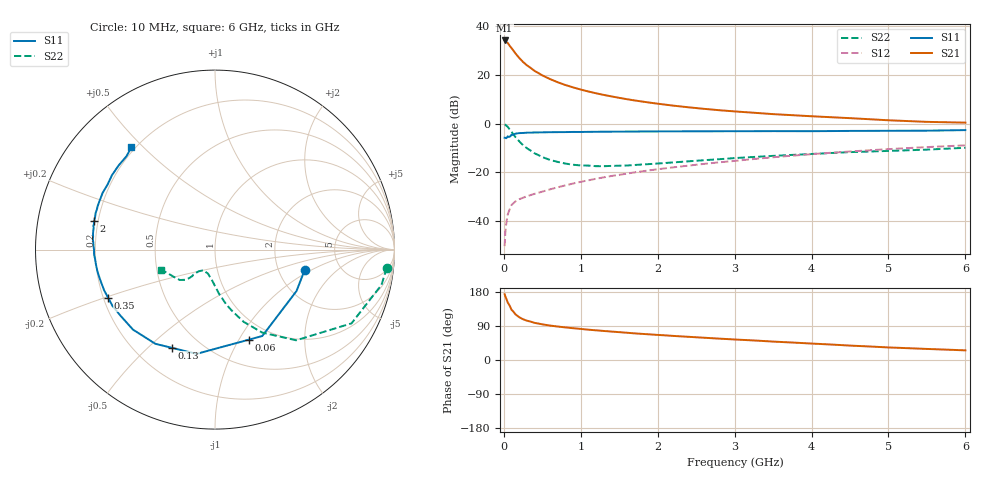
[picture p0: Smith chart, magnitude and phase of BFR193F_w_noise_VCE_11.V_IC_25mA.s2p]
! Infineon Technologies  Discrete & RF Semiconductors
! BFR193F
! VCE =  11. V,  IC =  25 mA
! Common Emitter S-Parameters:  Jan 2017
# GHz  S  MA  R  50
!  f  S11  S21  S12  S22
! GHz  MAG  ANG  MAG  ANG  MAG  ANG  MAG  ANG
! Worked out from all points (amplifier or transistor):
!   77 points, 10 MHz to 6 GHz, reference 50 ohm
!   highest |S21| = 34.3 dB at 10 MHz (marker M1)
!   |S21| within 3 dB of that: start of sweep to 96.15 MHz
!   unconditionally stable (mu >= 1): 1.301 GHz to 2.673 GHz
!   at 130 MHz: K = 0.31, MSG = 31.2 dB, |S12| = -32.6 dB
!   at 2.2 GHz: K = 1.02, MAG = 11.8 dB, |S12| = -18.0 dB
!   at 6 GHz: K = 0.83, MSG = 4.7 dB, |S12| = -8.9 dB
!   lowest NFmin = 1.11 dB at 450 MHz
!   S11 on the Smith chart (normalised r, x): 10 MHz: 2.80, -0.86; 60 MHz: 0.79, -1.11; 130 MHz: 0.35, -0.60; 350 MHz: 0.22, -0.21; 2 GHz: 0.18, +0.11; 6 GHz: 0.19, +0.46
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0.01  0.5126 -12.8  51.59 173.7  0.003 84.4  0.9625 -6.1
0.02  0.5094 -27.0  50.15 167.6  0.0059 82.1  0.9481 -12.0
0.05  0.5488 -61.3  45.87 152.0  0.0133 66.3  0.8643 -28.4
0.06  0.5362 -69.2  43.53 148.8  0.0148 63.0  0.8203 -31.6
0.1  0.5899 -100.0  35.92 132.5  0.0211 54.6  0.6778 -48.2
0.13  0.5977 -113.7  31.01 126.1  0.0234 50.8  0.5866 -54.8
0.15  0.6211 -122.3  28.01 120.7  0.025 48.6  0.5314 -60.4
0.2  0.6384 -135.7  22.52 112.9  0.0278 47.4  0.4336 -68.3
0.25  0.6426 -145.1  18.62 107.5  0.0298 46.5  0.3599 -74.0
0.3  0.6517 -151.3  15.88 103.7  0.032 48.1  0.3119 -78.4
0.35  0.653 -155.6  14 101.2  0.0339 49.4  0.2778 -81.3
0.4  0.658 -159.9  12.15 97.9  0.0359 50.6  0.2447 -85.0
0.5  0.6618 -165.5  9.85 94.1  0.0398 53.6  0.2051 -89.7
0.6  0.6662 -169.5  8.274 90.9  0.0443 56.0  0.1789 -94.0
0.8  0.67 -175.3  6.242 86.0  0.0535 60.5  0.1506 -101.8
1.1  0.6773 178.3  4.584 80.0  0.0681 65.0  0.1367 -110.9
2  0.6919 166.6  2.575 66.2  0.115 70.4  0.151 -126.9
2.1  0.692 165.7  2.461 65.0  0.1204 70.5  0.1549 -127.5
3.1  0.6983 156.7  1.741 53.1  0.1771 70.9  0.1995 -131.0
4.1  0.701 147.9  1.394 42.4  0.2415 68.4  0.2416 -135.7
5.1  0.7132 137.7  1.155 32.4  0.3047 63.7  0.2778 -147.6
6  0.7362 129.2  1.049 25.4  0.3573 58.7  0.3186 -159.6
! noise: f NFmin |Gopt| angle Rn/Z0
0.45  1.11  0.36  173  0.06
0.9  1.19  0.41  174  0.06
1.9  1.77  0.57  -169  0.07
2.4  2.06  0.61  -160  0.11
